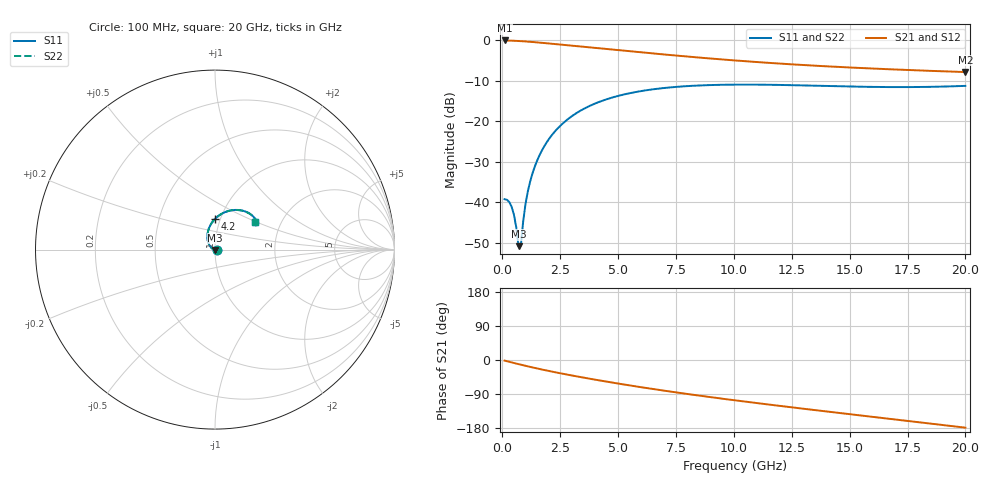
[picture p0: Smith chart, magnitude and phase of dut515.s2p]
! Touchstone file exported from HFSS 2024.1.0
!  File:  C:/UserFiles/LocalFiles/RDL_TSV_Batchsim/temp_RDL_TSV_515_1779740762.aedt
!  Generated:  04:36:26 AM May 26, 2026
!  Design:  RDL_TSV
!  Project:  temp_RDL_TSV_515_1779740762
!  Setup:  Setup1
!  Solution:  Sweep
! Variables:
!  dtsv = 13.03um
!  hbump = 3um
!  htsv = 56.73um
!  ldown = 404.02um
!  lrdl = 358.36um
!  p = 40
!  p1 = 46.84um
!  rhole = 10um
!  subl = 2645.5um
!  t = 450um
!  tdown = 4.98um
!  trdl = 3.97um
!  viad = 10um
!  wdown = 23.05um
!  wrdl = 19.43um
!  xbump = 18um
# GHz S MA R 50.000000
! Terminal data exported
! Port[1] = TM1_1_T1
! Port[2] = TM1_4_T1
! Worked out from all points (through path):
!   200 points, 100 MHz to 20 GHz, reference 50 ohm
!   highest |S21| = -0.10 dB at 100 MHz (marker M1); lowest = -7.9 dB at 20 GHz (marker M2)
!   group delay of S21, straight-line fit = 23.4 ps
!   lowest |S11| = -50.9 dB at 700 MHz (marker M3), VSWR 1.01, Z = 50.1 - j0.268 ohm
!   |S11| at or under -10 dB: start of sweep to end of sweep
!   |S22| runs from -50.9 to -11.0 dB; largest |S21 - S12| = 9.1e-15
!   S11 on the Smith chart (normalised r, x): 100 MHz: 1.02, -0.00; 4.2 GHz: 0.95, +0.34; 20 GHz: 1.48, +0.49
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0.1  0.01086 -1.3  0.9886 -1.6  0.9886 -1.6  0.01086 -1.3
! Gamma 0 0 0 0
! Port Impedance 50 0 50 0
0.3  0.01004 -9.4  0.9851 -4.8  0.9851 -4.8  0.01004 -9.4
0.5  0.007068 -24.0  0.9801 -7.9  0.9801 -7.9  0.007072 -24.0
0.6  0.004944 -37.3  0.977 -9.4  0.977 -9.4  0.004949 -37.3
0.7  0.00286 -69.4  0.9736 -10.9  0.9736 -10.9  0.002865 -69.3
0.8  0.00291 -140.0  0.9698 -12.4  0.9698 -12.4  0.002905 -139.8
0.9  0.005711 -174.4  0.9657 -13.8  0.9657 -13.8  0.005699 -174.4
1  0.009366 172.1  0.9613 -15.3  0.9613 -15.3  0.00935 172.1
1.1  0.01344 164.3  0.9566 -16.7  0.9566 -16.7  0.01342 164.3
1.3  0.02245 153.9  0.9467 -19.6  0.9467 -19.6  0.02242 153.9
1.6  0.0375 142.8  0.9306 -23.6  0.9306 -23.6  0.03746 142.8
2  0.05925 131.1  0.9082 -28.8  0.9082 -28.8  0.05918 131.1
2.4  0.08171 121.3  0.8855 -33.8  0.8855 -33.8  0.08161 121.3
2.9  0.1094 110.8  0.8577 -39.7  0.8577 -39.7  0.1092 110.8
3.5  0.1406 100.0  0.8255 -46.4  0.8255 -46.4  0.1404 100.0
4.2  0.1731 89.3  0.7896 -53.9  0.7896 -53.9  0.1729 89.3
5.4  0.2177 74.5  0.7321 -66.1  0.7321 -66.1  0.2173 74.4
6.8  0.2526 61.1  0.6714 -79.2  0.6714 -79.2  0.2521 61.0
10.1  0.2819 40.8  0.5587 -106.8  0.5587 -106.8  0.2813 40.8
13.4  0.2738 31.8  0.4844 -131.5  0.4844 -131.5  0.273 31.8
16.7  0.2629 31.2  0.4363 -155.1  0.4363 -155.1  0.2622 31.3
20  0.2719 34.8  0.4027 -178.5  0.4027 -178.5  0.2715 34.9
